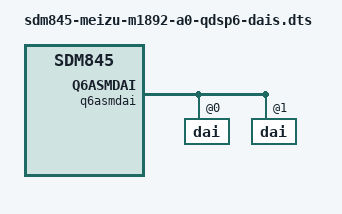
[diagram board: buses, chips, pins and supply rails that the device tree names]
// SPDX-License-Identifier: GPL-2.0-only
/*
 * M1892 A0.5b: expose one ASM front end while keeping the machine sound card
 * and all speaker amplifiers disabled.
 */

/dts-v1/;

#include <dt-bindings/sound/qcom,q6asm.h>

#include "sdm845-meizu-m1892-a0-wcd9340-enum.dts"

&q6asmdai {
	dai@0 {
		reg = <MSM_FRONTEND_DAI_MULTIMEDIA1>;
	};

	dai@1 {
		reg = <MSM_FRONTEND_DAI_MULTIMEDIA2>;
	};
};

&sound {
	status = "disabled";
};
